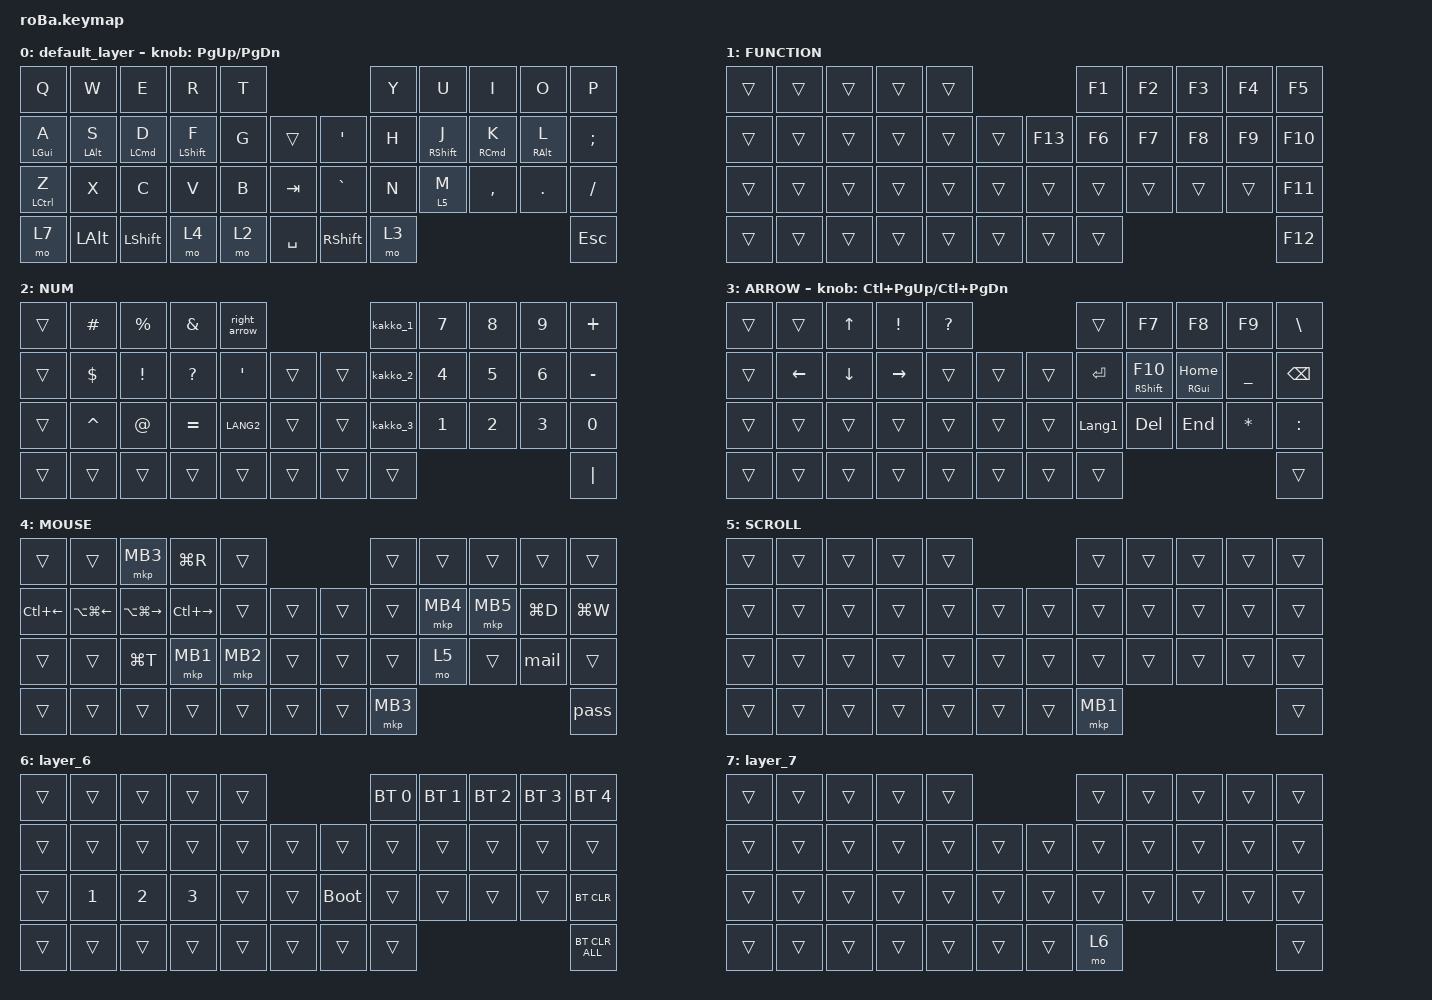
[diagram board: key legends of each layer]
#include <behaviors.dtsi>
#include <dt-bindings/zmk/bt.h>
#include <dt-bindings/zmk/keys.h>
#include <dt-bindings/zmk/pointing.h>

&mt {
    flavor = "balanced";
    quick-tap-ms = <0>;
};

&trackball {
    // automouse-layer = <4>;

    scroll-layers = <5>;

    // arrows {
    //     layers = <3>;
    //     bindings =
    //         <&kp RIGHT_ARROW>,
    //         <&kp LEFT_ARROW>,
    //         <&kp UP_ARROW>,
    //         <&kp DOWN_ARROW>;
    //     tick = <10>;
    //     wait-ms = <5>;
    //     tap-ms = <5>;
    // };
};

/ {
    combos {
        compatible = "zmk,combos";

        tab {
            bindings = <&kp TAB>;
            key-positions = <11 12>;
        };

        shift_tab {
            bindings = <&kp LS(TAB)>;
            key-positions = <12 13>;
        };

        double_quotation {
            bindings = <&kp DOUBLE_QUOTES>;
            key-positions = <20 21>;
        };

        eq {
            bindings = <&kp EQUAL>;
            key-positions = <24 25>;
        };
    };

    macros {
        pass: to_layer_0 {
            compatible = "zmk,behavior-macro";
            #binding-cells = <0>;
            bindings = <&kp G &kp J &kp M &kp P &kp T &kp W &kp LS(Z) &kp N0>;
            label = "TO_LAYER_0";
        };

        mail: mail {
            compatible = "zmk,behavior-macro";
            #binding-cells = <0>;
            bindings = <&kp K &kp E &kp I &kp S &kp U &kp K &kp E &kp DOT &kp Y &kp A &kp M &kp A &kp M &kp O &kp T &kp O &kp AT &kp S &kp U &kp P &kp E &kp R &kp S &kp H &kp I &kp P &kp DOT &kp J &kp P>;
            label = "MAIL";
        };

        right_arrow: right_arrow {
            compatible = "zmk,behavior-macro";
            #binding-cells = <0>;
            bindings = <&kp EQUAL &kp GT>;
            label = "RIGHT_ARROW";
        };

        kakko_1: kakko_1 {
            compatible = "zmk,behavior-macro";
            #binding-cells = <0>;
            bindings = <&kp LBKT &kp RBKT &kp LEFT_ARROW>;
            label = "KAKKO_1";
        };

        kakko_2: kakko_2 {
            compatible = "zmk,behavior-macro";
            #binding-cells = <0>;
            bindings = <&kp LPAR &kp RPAR &kp LEFT_ARROW>;
            label = "KAKKO_2";
        };

        kakko_3: kakko_3 {
            compatible = "zmk,behavior-macro";
            #binding-cells = <0>;
            bindings = <&kp LBRC &kp RBRC &kp LEFT_ARROW>;
            label = "KAKKO_3";
        };
    };

    behaviors {
        lt_to_layer_0: lt_to_layer_0 {
            compatible = "zmk,behavior-hold-tap";
            label = "LAYER_TAP_TO_0";
            bindings = <&mo>, <&pass>;

            #binding-cells = <2>;
            tapping-term-ms = <200>;
        };
    };

    keymap {
        compatible = "zmk,keymap";

        default_layer {
            bindings = <
&kp Q           &kp W           &kp E               &kp R             &kp T                                   &kp Y  &kp U              &kp I                &kp O            &kp P
&mt LEFT_GUI A  &mt LEFT_ALT S  &mt LEFT_COMMAND D  &mt LEFT_SHIFT F  &kp G  &trans         &kp SINGLE_QUOTE  &kp H  &mt RIGHT_SHIFT J  &mt RIGHT_COMMAND K  &mt RIGHT_ALT L  &kp SEMI
&mt LCTRL Z     &kp X           &kp C               &kp V             &kp B  &kp TAB        &kp GRAVE         &kp N  &lt 5 M            &kp COMMA            &kp DOT          &kp SLASH
&mo 7           &kp LEFT_ALT    &kp LEFT_SHIFT      &mo 4             &mo 2  &kp SPACE      &kp RIGHT_SHIFT   &mo 3                                                           &kp ESCAPE
            >;

            sensor-bindings = <&inc_dec_kp PG_UP PAGE_DOWN>;
        };

        FUNCTION {
            bindings = <
&trans  &trans  &trans  &trans  &trans                       &kp F1  &kp F2  &kp F3  &kp F4  &kp F5
&trans  &trans  &trans  &trans  &trans  &trans      &kp F13  &kp F6  &kp F7  &kp F8  &kp F9  &kp F10
&trans  &trans  &trans  &trans  &trans  &trans      &trans   &trans  &trans  &trans  &trans  &kp F11
&trans  &trans  &trans  &trans  &trans  &trans      &trans   &trans                          &kp F12
            >;
        };

        NUM {
            bindings = <
&trans  &kp HASH    &kp PERCENT      &kp AMPERSAND  &right_arrow                          &kakko_1  &kp NUMBER_7  &kp NUMBER_8  &kp NUMBER_9  &kp PLUS
&trans  &kp DOLLAR  &kp EXCLAMATION  &kp QMARK      &kp SINGLE_QUOTE  &trans      &trans  &kakko_2  &kp NUMBER_4  &kp NUMBER_5  &kp NUMBER_6  &kp MINUS
&trans  &kp CARET   &kp AT           &kp EQUAL      &kp LANG2         &trans      &trans  &kakko_3  &kp NUMBER_1  &kp NUMBER_2  &kp NUMBER_3  &kp NUMBER_0
&trans  &trans      &trans           &trans         &trans            &trans      &trans  &trans                                              &kp PIPE
            >;
        };

        ARROW {
            bindings = <
&trans  &trans          &kp UP_ARROW    &kp EXCL         &kp QUESTION                      &trans          &kp F7               &kp F8              &kp F9     &kp BACKSLASH
&trans  &kp LEFT_ARROW  &kp DOWN_ARROW  &kp RIGHT_ARROW  &trans        &trans      &trans  &kp ENTER       &mt RIGHT_SHIFT F10  &mt RIGHT_GUI HOME  &kp UNDER  &kp BACKSPACE
&trans  &trans          &trans          &trans           &trans        &trans      &trans  &kp LANGUAGE_1  &kp DEL              &kp END             &kp ASTRK  &kp COLON
&trans  &trans          &trans          &trans           &trans        &trans      &trans  &trans                                                              &trans
            >;

            sensor-bindings = <&inc_dec_kp LC(PAGE_UP) LC(PAGE_DOWN)>;
        };

        MOUSE {
            bindings = <
&trans              &trans                  &mkp MB3                 &kp LG(R)            &trans                        &trans    &trans    &trans    &trans     &trans
&kp LC(LEFT_ARROW)  &kp LA(LG(LEFT_ARROW))  &kp LA(LG(RIGHT_ARROW))  &kp LC(RIGHT_ARROW)  &trans    &trans      &trans  &trans    &mkp MB4  &mkp MB5  &kp LG(D)  &kp LG(W)
&trans              &trans                  &kp LG(T)                &mkp MB1             &mkp MB2  &trans      &trans  &trans    &mo 5     &trans    &mail      &trans
&trans              &trans                  &trans                   &trans               &trans    &trans      &trans  &mkp MB3                                 &pass
            >;
        };

        SCROLL {
            bindings = <
&trans  &trans  &trans  &trans  &trans                      &trans    &trans  &trans  &trans  &trans
&trans  &trans  &trans  &trans  &trans  &trans      &trans  &trans    &trans  &trans  &trans  &trans
&trans  &trans  &trans  &trans  &trans  &trans      &trans  &trans    &trans  &trans  &trans  &trans
&trans  &trans  &trans  &trans  &trans  &trans      &trans  &mkp MB1                          &trans
            >;
        };

        layer_6 {
            bindings = <
&trans  &trans        &trans        &trans        &trans                           &bt BT_SEL 0  &bt BT_SEL 1  &bt BT_SEL 2  &bt BT_SEL 3  &bt BT_SEL 4
&trans  &trans        &trans        &trans        &trans  &trans      &trans       &trans        &trans        &trans        &trans        &trans
&trans  &kp NUMBER_1  &kp NUMBER_2  &kp NUMBER_3  &trans  &trans      &bootloader  &trans        &trans        &trans        &trans        &bt BT_CLR
&trans  &trans        &trans        &trans        &trans  &trans      &trans       &trans                                                  &bt BT_CLR_ALL
            >;
        };

        layer_7 {
            bindings = <
&trans  &trans  &trans  &trans  &trans                      &trans  &trans  &trans  &trans  &trans
&trans  &trans  &trans  &trans  &trans  &trans      &trans  &trans  &trans  &trans  &trans  &trans
&trans  &trans  &trans  &trans  &trans  &trans      &trans  &trans  &trans  &trans  &trans  &trans
&trans  &trans  &trans  &trans  &trans  &trans      &trans  &mo 6                           &trans
            >;
        };
    };
};
